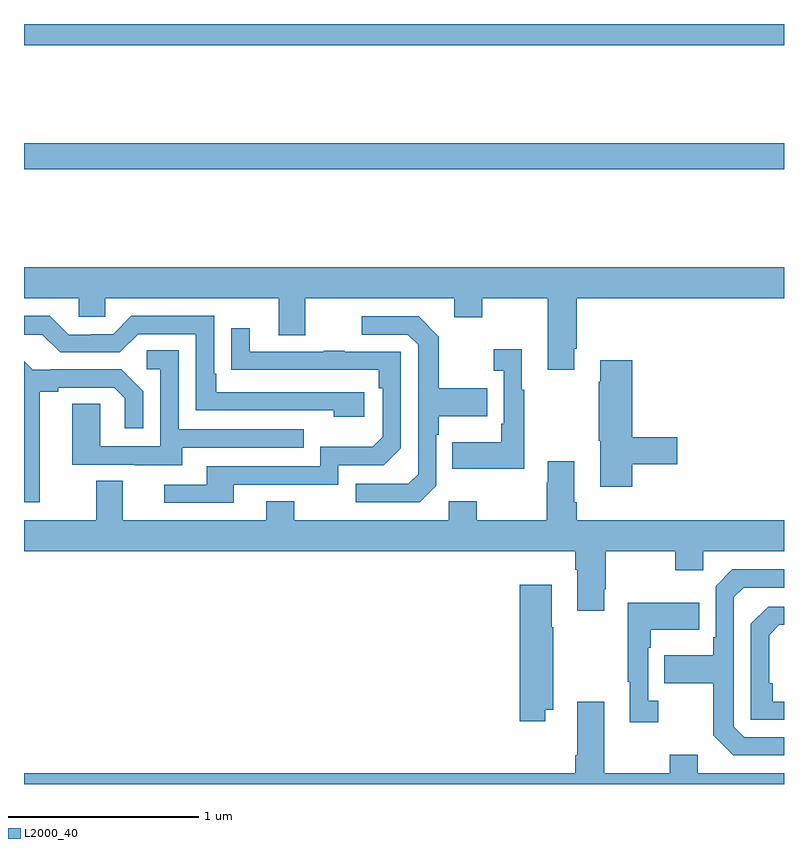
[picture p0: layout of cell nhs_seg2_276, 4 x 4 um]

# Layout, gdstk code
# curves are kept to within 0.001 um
import gdstk
lib = gdstk.Library(unit=1e-6, precision=1e-09)
def R(c, l, rs):  # rectangles x0, y0, x1, y1
    for r in rs: c.add(gdstk.rectangle(r[:2], r[2:], *l))
def P(c, l, *ps):  # polygons
    for p in ps: c.add(gdstk.Polygon(p, *l))
L2000_40 = (2000, 40)

nhs_seg2_276 = lib.new_cell('nhs_seg2_276')
R(nhs_seg2_276, L2000_40, [(125,595.036,129,595.172), (125,595.688,129,595.8)])
P(nhs_seg2_276, L2000_40, [(127.897,594.091),(127.91,594.091),(127.91,594.356),(129,594.356),(129,594.52),(125,594.52),(125,594.356),(125.289,594.356),(125.289,594.258),(125.427,594.258),(125.427,594.356),(126.341,594.356),(126.341,594.162),(126.481,594.162),(126.481,594.356),(127.265,594.356),(127.265,594.257),(127.413,594.257),(127.413,594.356),(127.757,594.356),(127.757,593.979),(127.897,593.979)],
  [(126.79,593.862),(126.013,593.862),(126.013,593.959),(126,593.959),(126,594.264),(125.565,594.264),(125.469,594.168),(125.351,594.168),(125.351,594.165),(125.235,594.165),(125.135,594.265),(125,594.265),(125,594.165),(125.097,594.165),(125.19,594.072),(125.505,594.072),(125.601,594.168),(125.904,594.168),(125.904,593.766),(126.629,593.766),(126.629,593.732),(126.79,593.732)],
  [(127.17,593.37),(127.17,593.639),(127.183,593.639),(127.183,593.735),(127.439,593.735),(127.439,593.883),(127.183,593.883),(127.183,594.155),(127.077,594.261),(126.777,594.261),(126.777,594.165),(127.02,594.165),(127.074,594.111),(127.074,593.43),(127.023,593.379),(126.747,593.379),(126.747,593.283),(127.083,593.283)],
  [(126.103,593.376),(126.654,593.376),(126.654,593.478),(126.894,593.478),(126.984,593.568),(126.984,594.075),(126.689,594.075),(126.689,594.08),(126.577,594.08),(126.577,594.075),(126.187,594.075),(126.187,594.199),(126.091,594.199),(126.091,593.98),(126.868,593.979),(126.868,593.882),(126.888,593.882),(126.888,593.628),(126.835,593.575),(126.558,593.575),(126.558,593.472),(125.963,593.472),(125.963,593.376),(125.739,593.376),(125.739,593.28),(126.103,593.28)],
  [(127.633,593.875),(127.621,593.875),(127.621,594.088),(127.473,594.088),(127.473,593.975),(127.524,593.975),(127.524,593.695),(127.512,593.695),(127.512,593.599),(127.255,593.599),(127.255,593.459),(127.633,593.459)],
  [(125.833,593.571),(126.473,593.571),(126.473,593.667),(125.814,593.667),(125.814,594.083),(125.646,594.083),(125.646,593.982),(125.718,593.982),(125.718,593.577),(125.4,593.577),(125.4,593.801),(125.255,593.801),(125.255,593.481),(125.579,593.481),(125.579,593.477),(125.833,593.477)],
  [(128.201,593.482),(128.437,593.482),(128.437,593.624),(128.201,593.624),(128.201,594.031),(128.033,594.031),(128.033,593.918),(128.026,593.918),(128.026,593.607),(128.033,593.607),(128.033,593.364),(128.201,593.364)],
  [(125.083,593.864),(125.179,593.864),(125.179,593.886),(125.474,593.886),(125.531,593.829),(125.531,593.673),(125.628,593.673),(125.628,593.866),(125.512,593.982),(125.14,593.982),(125.14,593.979),(125.046,593.979),(125,594.025),(125,593.283),(125.083,593.283)],
  [(128.053,592.825),(128.061,592.825),(128.061,593.024),(128.428,593.024),(128.428,592.925),(128.574,592.925),(128.574,593.024),(129,593.024),(129,593.188),(127.91,593.188),(127.91,593.284),(127.897,593.284),(127.897,593.5),(127.757,593.5),(127.757,593.387),(127.75,593.387),(127.75,593.188),(127.383,593.188),(127.383,593.287),(127.236,593.287),(127.236,593.188),(126.423,593.188),(126.423,593.287),(126.275,593.287),(126.275,593.188),(125.521,593.188),(125.521,593.396),(125.381,593.396),(125.381,593.188),(125,593.188),(125,593.024),(127.901,593.024),(127.901,592.928),(127.913,592.928),(127.913,592.713),(128.053,592.713)],
  [(129,592.047),(128.79,592.047),(128.736,592.101),(128.736,592.782),(128.787,592.833),(129,592.833),(129,592.929),(128.727,592.929),(128.64,592.842),(128.64,592.573),(128.628,592.573),(128.628,592.477),(128.371,592.477),(128.371,592.33),(128.628,592.33),(128.628,592.057),(128.733,591.951),(129,591.951)],
  [(127.744,592.19),(127.785,592.19),(127.785,592.625),(127.777,592.625),(127.777,592.849),(127.61,592.849),(127.61,592.131),(127.744,592.131)],
  [(128.338,592.238),(128.286,592.238),(128.286,592.517),(128.299,592.517),(128.299,592.613),(128.555,592.613),(128.555,592.753),(128.178,592.753),(128.178,592.337),(128.189,592.337),(128.189,592.125),(128.338,592.125)],
  [(129,592.233),(128.942,592.233),(128.942,592.33),(128.922,592.33),(128.922,592.584),(128.975,592.637),(129,592.637),(129,592.734),(128.916,592.734),(128.826,592.644),(128.826,592.137),(129,592.137)],
  [(129,591.856),(128.545,591.856),(128.545,591.955),(128.398,591.955),(128.398,591.856),(128.053,591.856),(128.053,592.234),(127.913,592.234),(127.913,591.952),(127.901,591.952),(127.901,591.856),(125,591.856),(125,591.8),(129,591.8)])

lib.write_gds('nhs_seg2_276.gds')
